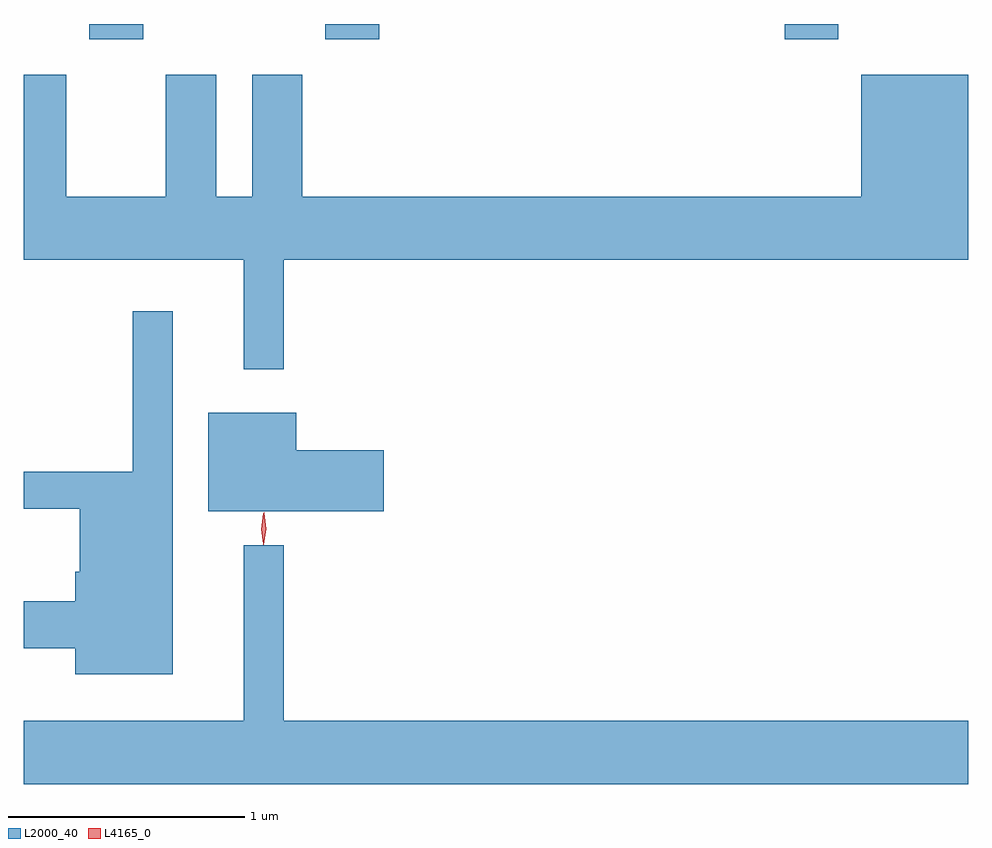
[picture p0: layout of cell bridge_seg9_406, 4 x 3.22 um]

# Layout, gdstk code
import gdstk
lib = gdstk.Library(unit=1e-6, precision=1e-09)
def R(c, l, rs):  # rectangles x0, y0, x1, y1
    for r in rs: c.add(gdstk.rectangle(r[:2], r[2:], *l))
def P(c, l, *ps):  # polygons
    for p in ps: c.add(gdstk.Polygon(p, *l))
L2000_40 = (2000, 40)
L4165_0 = (4165, 0)

bridge_seg9_406 = lib.new_cell('bridge_seg9_406')
R(bridge_seg9_406, L2000_40, [(539.106,2072.671,539.334,2072.735), (540.106,2072.671,540.334,2072.735), (542.051,2072.671,542.279,2072.735)])
P(bridge_seg9_406, L2000_40, [(539.929,2071.736),(542.829,2071.736),(542.829,2072.519),(542.376,2072.519),(542.376,2072.004),(540.009,2072.004),(540.009,2072.519),(539.796,2072.519),(539.796,2072.004),(539.644,2072.004),(539.644,2072.519),(539.431,2072.519),(539.431,2072.004),(539.009,2072.004),(539.009,2072.519),(538.829,2072.519),(538.829,2071.736),(539.761,2071.736),(539.761,2071.273),(539.929,2071.273)],
  [(539.459,2071.518),(539.291,2071.518),(539.291,2070.839),(538.829,2070.839),(538.829,2070.681),(539.066,2070.681),(539.066,2070.414),(539.046,2070.414),(539.046,2070.289),(538.829,2070.289),(538.829,2070.091),(539.046,2070.091),(539.046,2069.981),(539.459,2069.981)],
  [(540.354,2070.929),(539.984,2070.929),(539.984,2071.089),(539.611,2071.089),(539.611,2070.671),(540.354,2070.671)],
  [(542.829,2069.784),(539.929,2069.784),(539.929,2070.528),(539.761,2070.528),(539.761,2069.784),(538.829,2069.784),(538.829,2069.516),(542.829,2069.516)])
P(bridge_seg9_406, L4165_0, [(539.844,2070.53),(539.836,2070.598),(539.846,2070.665),(539.847,2070.666),(539.847,2070.665),(539.856,2070.598),(539.846,2070.53),(539.845,2070.53)],
  [(539.845,2070.533),(539.844,2070.534),(539.834,2070.596),(539.844,2070.66),(539.844,2070.66),(539.845,2070.66),(539.854,2070.597),(539.845,2070.534)])

lib.write_gds('bridge_seg9_406.gds')
